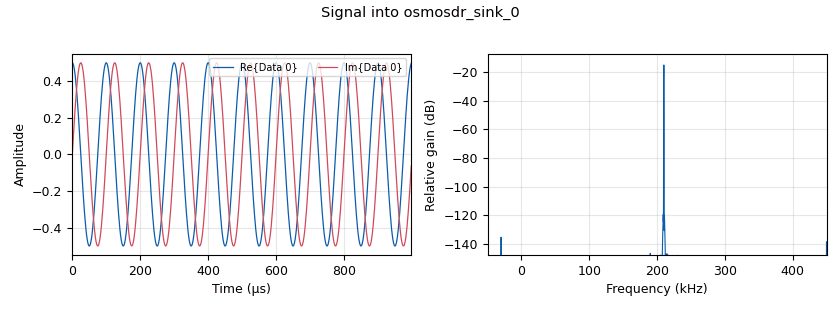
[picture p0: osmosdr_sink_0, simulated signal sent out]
<?xml version='1.0' encoding='utf-8'?>
<?grc format='1' created='3.7.11'?>
<flow_graph>
<block>
<key>options</key>
<param><key>id</key><value>top_block</value></param>
<param><key>generate_options</key><value>qt_gui</value></param>
</block>
<block>
<key>variable</key>
<param><key>id</key><value>fc</value></param>
<param><key>value</key><value>2e5</value></param>
</block>
<block>
<key>variable</key>
<param><key>id</key><value>fm</value></param>
<param><key>value</key><value>1e4</value></param>
</block>
<block>
<key>variable</key>
<param><key>id</key><value>samp_rate</value></param>
<param><key>value</key><value>500000</value></param>
</block>
<block>
<key>variable</key>
<param><key>id</key><value>sdr</value></param>
<param><key>value</key><value>"redpitaya=192.168.88.17:1001"</value></param>
</block>
<block>
<key>analog_sig_source_x</key>
<param><key>id</key><value>analog_sig_source_x_0</value></param>
<param><key>amp</key><value>0.5</value></param>
<param><key>freq</key><value>fm</value></param>
<param><key>offset</key><value>0</value></param>
<param><key>type</key><value>complex</value></param>
<param><key>samp_rate</key><value>samp_rate</value></param>
<param><key>waveform</key><value>analog.GR_COS_WAVE</value></param>
</block>
<block>
<key>osmosdr_sink</key>
<param><key>id</key><value>osmosdr_sink_0</value></param>
<param><key>bb_gain0</key><value>20</value></param>
<param><key>freq0</key><value>fc</value></param>
<param><key>if_gain0</key><value>20</value></param>
<param><key>gain0</key><value>10</value></param>
<param><key>args</key><value>sdr</value></param>
<param><key>type</key><value>fc32</value></param>
<param><key>sample_rate</key><value>samp_rate</value></param>
<param><key>sync</key><value></value></param>
</block>
<block>
<key>osmosdr_source</key>
<param><key>id</key><value>osmosdr_source_0</value></param>
<param><key>bb_gain0</key><value>20</value></param>
<param><key>freq0</key><value>fc</value></param>
<param><key>gain_mode0</key><value>False</value></param>
<param><key>if_gain0</key><value>20</value></param>
<param><key>gain0</key><value>10</value></param>
<param><key>args</key><value>sdr</value></param>
<param><key>type</key><value>fc32</value></param>
<param><key>sample_rate</key><value>samp_rate</value></param>
<param><key>sync</key><value></value></param>
</block>
<block>
<key>qtgui_time_sink_x</key>
<param><key>id</key><value>qtgui_time_sink_x_1_0_0_0_0_0_0</value></param>
<param><key>autoscale</key><value>True</value></param>
<param><key>color1</key><value>"blue"</value></param>
<param><key>label1</key><value></value></param>
<param><key>color2</key><value>"red"</value></param>
<param><key>label2</key><value></value></param>
<param><key>name</key><value>RX</value></param>
<param><key>size</key><value>1024</value></param>
<param><key>srate</key><value>samp_rate</value></param>
<param><key>type</key><value>complex</value></param>
</block>
<connection><source_block_id>analog_sig_source_x_0</source_block_id><sink_block_id>osmosdr_sink_0</sink_block_id><source_key>0</source_key><sink_key>0</sink_key></connection>
<connection><source_block_id>osmosdr_source_0</source_block_id><sink_block_id>qtgui_time_sink_x_1_0_0_0_0_0_0</sink_block_id><source_key>0</source_key><sink_key>0</sink_key></connection>
</flow_graph>
